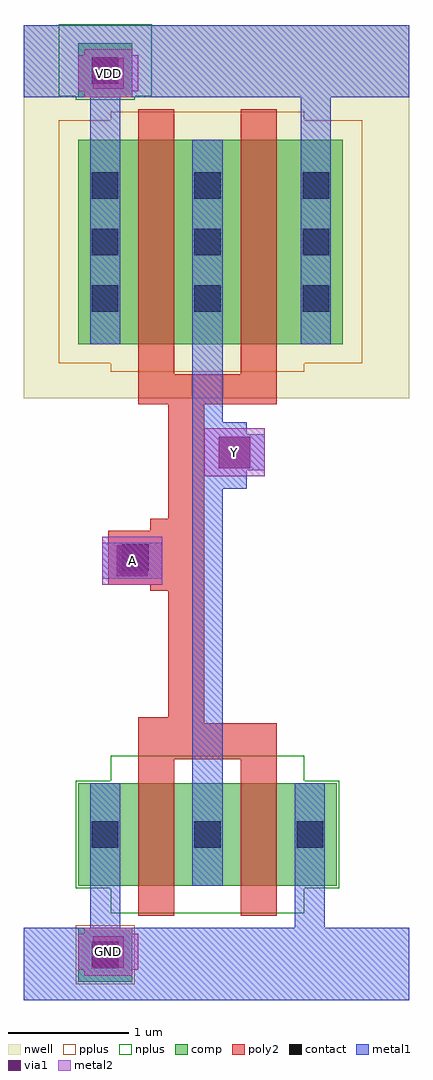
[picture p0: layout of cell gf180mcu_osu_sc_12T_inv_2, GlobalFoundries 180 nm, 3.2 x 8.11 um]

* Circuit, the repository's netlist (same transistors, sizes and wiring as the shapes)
.inc "../../char/techfiles/design.hspice"
.lib "../../char/techfiles/sm141064.hspice" typical

.GLOBAL VDD
.GLOBAL GND

.option scale=0.05u

.subckt gf180mcu_osu_sc_12T_inv_2 A Y
X0 VDD A Y VDD pmos_3p3 w=34 l=6
X1 Y A VDD VDD pmos_3p3 w=34 l=6
X2 Y A GND GND nmos_3p3 w=17 l=6
X3 GND A Y GND nmos_3p3 w=17 l=6
.ends

** hspice subcircuit dictionary

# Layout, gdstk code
import gdstk
lib = gdstk.Library(unit=1e-6, precision=1e-09)
def R(c, l, rs):  # rectangles x0, y0, x1, y1
    for r in rs: c.add(gdstk.rectangle(r[:2], r[2:], *l))
def A(c, l, x, y, w, h, nx, ny, dx, dy):  # array of equal rectangles
    R(c, l, [(x+i*dx, y+j*dy, x+i*dx+w, y+j*dy+h) for i in range(nx) for j in range(ny)])
nwell = (21, 0)
comp = (22, 0)
poly2 = (30, 0)
pplus = (31, 0)
nplus = (32, 0)
contact = (33, 0)
metal1 = (34, 0)
via1 = (35, 0)
metal2 = (36, 0)

gf180mcu_osu_sc_12t_inv_ = lib.new_cell('gf180mcu_osu_sc_12T_inv_2')
R(gf180mcu_osu_sc_12t_inv_, nwell, [(0,4.85,3.2,7.95)])
R(gf180mcu_osu_sc_12t_inv_, comp, [(0.45,0,0.9,0.45), (0.45,0.8,2.6,1.65), (0.45,5.3,2.65,7), (0.45,7.35,0.9,7.8)])
R(gf180mcu_osu_sc_12t_inv_, poly2, [(0.95,0.55,1.25,1.85), (1.8,0.55,2.1,1.85), (0.95,1.85,2.1,2.15), (0.95,2.15,1.5,2.2), (1.2,2.2,1.5,3.25), (1.05,3.25,1.5,3.3), (0.7,3.3,1.5,3.75), (1.05,3.75,1.5,3.85), (1.2,3.85,1.5,4.8), (0.95,4.8,2.1,5.05), (0.95,5.05,1.25,7.25), (1.8,5.05,2.1,7.25)])
R(gf180mcu_osu_sc_12t_inv_, pplus, [(0.43,-0.02,0.92,0.47), (0.72,5.07,2.33,5.14), (0.29,5.14,2.81,7.16), (0.72,7.16,2.33,7.23)])
R(gf180mcu_osu_sc_12t_inv_, nplus, [(0.72,0.57,2.33,0.78), (0.43,0.78,2.62,1.67), (0.72,1.67,2.33,1.88), (0.43,7.33,0.92,7.36), (0.29,7.36,1.06,7.96)])
A(gf180mcu_osu_sc_12t_inv_, contact, 0.565, 1.115, 0.22, 0.22, 3, 1, 0.85, 0)
A(gf180mcu_osu_sc_12t_inv_, contact, 0.565, 5.57, 0.22, 0.22, 1, 3, 0, 0.47)
A(gf180mcu_osu_sc_12t_inv_, contact, 1.415, 5.57, 0.22, 0.22, 1, 3, 0, 0.47)
A(gf180mcu_osu_sc_12t_inv_, contact, 2.315, 5.57, 0.22, 0.22, 1, 3, 0, 0.47)
R(gf180mcu_osu_sc_12t_inv_, contact, [(0.565,0.115,0.785,0.335), (0.815,3.415,1.035,3.635), (0.565,7.465,0.785,7.685)])
R(gf180mcu_osu_sc_12t_inv_, metal1, [(0,-0.15,3.2,0.45), (0.55,0.45,0.8,1.65), (2.25,0.45,2.5,1.65), (1.4,0.8,1.65,4.1), (0.65,3.35,1.15,3.65), (1.4,4.1,1.85,4.25), (1.4,4.25,2,4.55), (1.4,4.55,1.85,4.65), (1.4,4.65,1.65,7), (0.55,5.3,0.8,7.35), (2.3,5.3,2.55,7.35), (0,7.35,3.2,7.95)])
R(gf180mcu_osu_sc_12t_inv_, via1, [(0.57,0.12,0.83,0.38), (0.77,3.37,1.03,3.63), (1.62,4.27,1.88,4.53), (0.57,7.42,0.83,7.68)])
R(gf180mcu_osu_sc_12t_inv_, metal2, [(0.5,0.05,0.9,0.1), (0.45,0.1,0.95,0.4), (0.5,0.4,0.9,0.45), (0.65,3.3,1.15,3.7), (1.5,4.2,2,4.6), (0.5,7.35,0.9,7.4), (0.45,7.4,0.95,7.7), (0.5,7.7,0.9,7.75)])
gf180mcu_osu_sc_12t_inv_.add(gdstk.Label('GND', (0.7,0.25), layer=36, texttype=0))
gf180mcu_osu_sc_12t_inv_.add(gdstk.Label('VDD', (0.7,7.55), layer=36, texttype=0))
gf180mcu_osu_sc_12t_inv_.add(gdstk.Label('A', (0.9,3.5), layer=36, texttype=10))
gf180mcu_osu_sc_12t_inv_.add(gdstk.Label('Y', (1.75,4.4), layer=36, texttype=10))

lib.write_gds('gf180mcu_osu_sc_12T_inv_2.gds')
